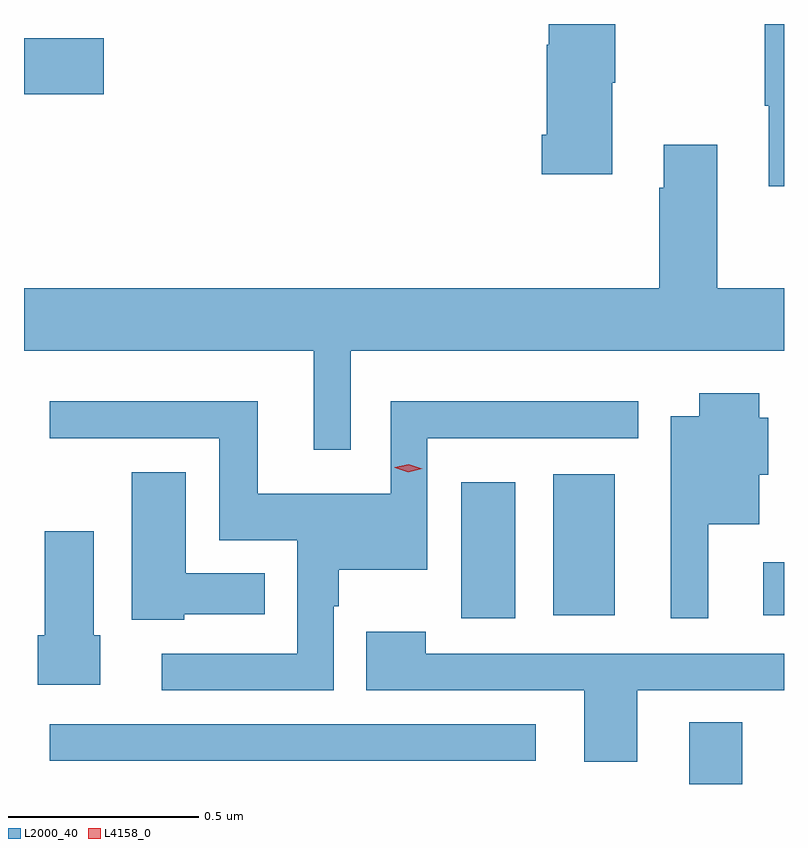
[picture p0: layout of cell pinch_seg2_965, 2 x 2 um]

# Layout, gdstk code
import gdstk
lib = gdstk.Library(unit=1e-6, precision=1e-09)
def R(c, l, rs):  # rectangles x0, y0, x1, y1
    for r in rs: c.add(gdstk.rectangle(r[:2], r[2:], *l))
def P(c, l, *ps):  # polygons
    for p in ps: c.add(gdstk.Polygon(p, *l))
L2000_40 = (2000, 40)
L4158_0 = (4158, 0)

pinch_seg2_965 = lib.new_cell('pinch_seg2_965')
R(pinch_seg2_965, L2000_40, [(352.199,641.168,352.339,641.33), (350.517,641.229,351.796,641.325), (351.599,641.604,351.742,641.962), (351.842,641.612,352.003,641.983), (352.395,641.612,352.449,641.752), (350.449,642.983,350.659,643.13)])
P(pinch_seg2_965, L2000_40, [(352.449,643.168),(352.398,643.168),(352.398,642.953),(352.409,642.953),(352.409,642.741),(352.449,642.741)],
  [(351.997,643.013),(352.005,643.013),(352.005,643.168),(351.83,643.168),(351.83,643.113),(351.824,643.113),(351.824,642.877),(351.812,642.877),(351.812,642.773),(351.997,642.773)],
  [(351.309,642.308),(352.449,642.308),(352.449,642.472),(352.273,642.472),(352.273,642.85),(352.133,642.85),(352.133,642.737),(352.121,642.737),(352.121,642.472),(350.449,642.472),(350.449,642.308),(351.212,642.308),(351.212,642.048),(351.309,642.048)],
  [(352.249,641.852),(352.384,641.852),(352.384,641.982),(352.408,641.982),(352.408,642.132),(352.384,642.132),(352.384,642.196),(352.226,642.196),(352.226,642.136),(352.151,642.136),(352.151,641.604),(352.249,641.604)],
  [(351.264,641.636),(351.277,641.636),(351.277,641.732),(351.51,641.732),(351.51,642.078),(352.066,642.078),(352.066,642.175),(351.414,642.175),(351.414,641.932),(351.064,641.932),(351.064,642.175),(350.517,642.175),(350.517,642.078),(350.963,642.078),(350.963,641.81),(351.168,641.81),(351.168,641.511),(350.811,641.511),(350.811,641.415),(351.264,641.415)],
  [(350.871,641.615),(351.082,641.615),(351.082,641.722),(350.875,641.722),(350.875,641.989),(350.732,641.989),(350.732,641.6),(350.871,641.6)],
  [(350.65,641.559),(350.632,641.559),(350.632,641.833),(350.503,641.833),(350.503,641.559),(350.485,641.559),(350.485,641.429),(350.65,641.429)],
  [(352.063,641.415),(352.449,641.415),(352.449,641.511),(351.506,641.511),(351.506,641.569),(351.349,641.569),(351.349,641.415),(351.923,641.415),(351.923,641.226),(352.063,641.226)])
P(pinch_seg2_965, L4158_0, [(351.46,641.989),(351.425,642),(351.425,642.001),(351.425,642.001),(351.461,642.009),(351.497,641.998),(351.497,641.998),(351.497,641.998)])

lib.write_gds('pinch_seg2_965.gds')
